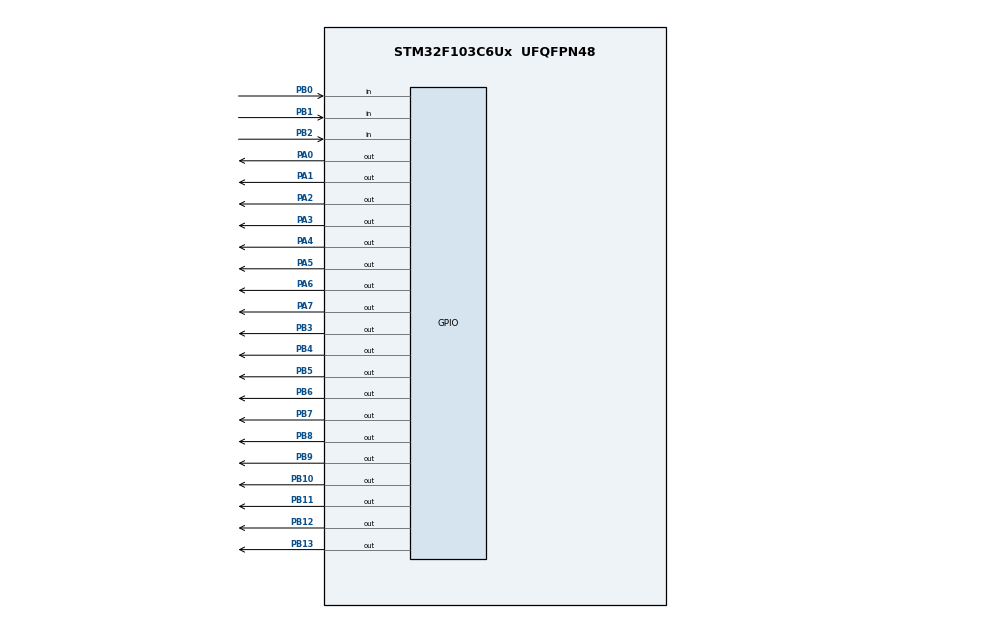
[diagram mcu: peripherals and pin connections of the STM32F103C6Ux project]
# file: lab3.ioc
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Mcu.Family=STM32F1
Mcu.Name=STM32F103C6Ux
Mcu.Package=UFQFPN48
NVIC.PriorityGroup=NVIC_PRIORITYGROUP_4
NVIC.TIM2_IRQn=true\:0\:0\:false\:false\:true\:true\:true
PA0-WKUP.Signal=GPIO_Output
PA1.Signal=GPIO_Output
PA2.Signal=GPIO_Output
PA3.Signal=GPIO_Output
PA4.Signal=GPIO_Output
PA5.Signal=GPIO_Output
PA6.Signal=GPIO_Output
PA7.Signal=GPIO_Output
PB0.GPIO_PuPd=GPIO_PULLUP
PB0.Signal=GPIO_Input
PB1.GPIO_PuPd=GPIO_PULLUP
PB1.Signal=GPIO_Input
PB10.Signal=GPIO_Output
PB11.Signal=GPIO_Output
PB12.Signal=GPIO_Output
PB13.Signal=GPIO_Output
PB2.GPIO_PuPd=GPIO_PULLUP
PB2.Signal=GPIO_Input
PB3.Signal=GPIO_Output
PB4.Signal=GPIO_Output
PB5.Signal=GPIO_Output
PB6.Signal=GPIO_Output
PB7.Signal=GPIO_Output
PB8.Signal=GPIO_Output
PB9.Signal=GPIO_Output
ProjectManager.HeapSize=0x200
ProjectManager.StackSize=0x400
ProjectManager.TargetToolchain=STM32CubeIDE
RCC.APB1Freq_Value=8000000
RCC.APB2Freq_Value=8000000
TIM2.Period=9
TIM2.Prescaler=7999
VP_SYS_VS_ND.Mode=No_Debug
VP_TIM2_VS_ClockSourceINT.Mode=Internal
board=custom

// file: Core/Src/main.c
/* USER CODE BEGIN Header */
/**
  ******************************************************************************
  * @file           : main.c
  * @brief          : Main program body
  ******************************************************************************
  * @attention
  *
  * <h2><center>&copy; Copyright (c) 2026 STMicroelectronics.
  * All rights reserved.</center></h2>
  *
  * This software component is licensed by ST under BSD 3-Clause license,
  * the "License"; You may not use this file except in compliance with the
  * License. You may obtain a copy of the License at:
  *                        opensource.org/licenses/BSD-3-Clause
  *
  ******************************************************************************
  */
/* USER CODE END Header */
#include "main.h"

/* USER CODE BEGIN Includes */
#include "input_processing.h"
#include "timer.h"
/* USER CODE END Includes */

/* USER CODE BEGIN PD */
#define SEG0_Pin GPIO_PIN_3
#define SEG1_Pin GPIO_PIN_4
#define SEG2_Pin GPIO_PIN_5
#define SEG3_Pin GPIO_PIN_6
#define SEG4_Pin GPIO_PIN_7
#define SEG5_Pin GPIO_PIN_8
#define SEG6_Pin GPIO_PIN_9

#define EN0_Pin GPIO_PIN_10
#define EN1_Pin GPIO_PIN_11
#define EN2_Pin GPIO_PIN_12
#define EN3_Pin GPIO_PIN_13
/* USER CODE END PD */

TIM_HandleTypeDef htim2;

/* USER CODE BEGIN PV */
int led_buffer[4] = {0, 0, 0, 0};
int index_led = 0;
const int MAX_LED = 4;
/* USER CODE END PV */

void SystemClock_Config(void);
static void MX_GPIO_Init(void);
static void MX_TIM2_Init(void);
/* USER CODE BEGIN PFP */
void update7SEG(int index);
/* USER CODE END PFP */

int main(void)
{

  /* MCU Configuration--------------------------------------------------------*/

  /* Reset of all peripherals, Initializes the Flash interface and the Systick. */
  HAL_Init();

  /* Configure the system clock */
  SystemClock_Config();

  /* Initialize all configured peripherals */
  MX_GPIO_Init();
  MX_TIM2_Init();
  /* USER CODE BEGIN 2 */
  HAL_TIM_Base_Start_IT(&htim2);
  setTimer2(250);
  HAL_GPIO_WritePin(GPIOA, GPIO_PIN_2|GPIO_PIN_3|GPIO_PIN_4|GPIO_PIN_5|GPIO_PIN_6|GPIO_PIN_7, GPIO_PIN_SET);
  HAL_GPIO_WritePin(GPIOB, EN0_Pin|EN1_Pin|EN2_Pin|EN3_Pin, GPIO_PIN_SET);
  /* USER CODE END 2 */

  /* Infinite loop */
  /* USER CODE BEGIN WHILE */
  while (1)
  {
	  fsm_for_input_processing();
	  fsm_system();
	  if(timer2_flag==1){
		  setTimer2(250);
		  update7SEG(index_led++);
		  if(index_led >= MAX_LED)
			  index_led=0;
	  }
    /* USER CODE END WHILE */

  }
}

void SystemClock_Config(void)
{
  RCC_OscInitTypeDef RCC_OscInitStruct = {0};
  RCC_ClkInitTypeDef RCC_ClkInitStruct = {0};

  /** Initializes the RCC Oscillators according to the specified parameters
  * in the RCC_OscInitTypeDef structure.
  */
  RCC_OscInitStruct.OscillatorType = RCC_OSCILLATORTYPE_HSI;
  RCC_OscInitStruct.HSIState = RCC_HSI_ON;
  RCC_OscInitStruct.HSICalibrationValue = RCC_HSICALIBRATION_DEFAULT;
  RCC_OscInitStruct.PLL.PLLState = RCC_PLL_NONE;
  if (HAL_RCC_OscConfig(&RCC_OscInitStruct) != HAL_OK)
  {
    Error_Handler();
  }
  /** Initializes the CPU, AHB and APB buses clocks
  */
  RCC_ClkInitStruct.ClockType = RCC_CLOCKTYPE_HCLK|RCC_CLOCKTYPE_SYSCLK
                              |RCC_CLOCKTYPE_PCLK1|RCC_CLOCKTYPE_PCLK2;
  RCC_ClkInitStruct.SYSCLKSource = RCC_SYSCLKSOURCE_HSI;
  RCC_ClkInitStruct.AHBCLKDivider = RCC_SYSCLK_DIV1;
  RCC_ClkInitStruct.APB1CLKDivider = RCC_HCLK_DIV1;
  RCC_ClkInitStruct.APB2CLKDivider = RCC_HCLK_DIV1;

  if (HAL_RCC_ClockConfig(&RCC_ClkInitStruct, FLASH_LATENCY_0) != HAL_OK)
  {
    Error_Handler();
  }
}

static void MX_TIM2_Init(void)
{

  TIM_ClockConfigTypeDef sClockSourceConfig = {0};
  TIM_MasterConfigTypeDef sMasterConfig = {0};

  htim2.Instance = TIM2;
  htim2.Init.Prescaler = 7999;
  htim2.Init.CounterMode = TIM_COUNTERMODE_UP;
  htim2.Init.Period = 9;
  htim2.Init.ClockDivision = TIM_CLOCKDIVISION_DIV1;
  htim2.Init.AutoReloadPreload = TIM_AUTORELOAD_PRELOAD_DISABLE;
  if (HAL_TIM_Base_Init(&htim2) != HAL_OK)
  {
    Error_Handler();
  }
  sClockSourceConfig.ClockSource = TIM_CLOCKSOURCE_INTERNAL;
  if (HAL_TIM_ConfigClockSource(&htim2, &sClockSourceConfig) != HAL_OK)
  {
    Error_Handler();
  }
  sMasterConfig.MasterOutputTrigger = TIM_TRGO_RESET;
  sMasterConfig.MasterSlaveMode = TIM_MASTERSLAVEMODE_DISABLE;
  if (HAL_TIMEx_MasterConfigSynchronization(&htim2, &sMasterConfig) != HAL_OK)
  {
    Error_Handler();
  }

}

static void MX_GPIO_Init(void)
{
  GPIO_InitTypeDef GPIO_InitStruct = {0};

  /* GPIO Ports Clock Enable */
  __HAL_RCC_GPIOA_CLK_ENABLE();
  __HAL_RCC_GPIOB_CLK_ENABLE();

  /*Configure GPIO pin Output Level */
  HAL_GPIO_WritePin(GPIOA, GPIO_PIN_0|GPIO_PIN_1|GPIO_PIN_2|GPIO_PIN_3
                          |GPIO_PIN_4|GPIO_PIN_5|GPIO_PIN_6|GPIO_PIN_7, GPIO_PIN_RESET);

  /*Configure GPIO pin Output Level */
  HAL_GPIO_WritePin(GPIOB, GPIO_PIN_10|GPIO_PIN_11|GPIO_PIN_12|GPIO_PIN_13
                          |GPIO_PIN_3|GPIO_PIN_4|GPIO_PIN_5|GPIO_PIN_6
                          |GPIO_PIN_7|GPIO_PIN_8|GPIO_PIN_9, GPIO_PIN_RESET);

  /*Configure GPIO pins : PA0 PA1 PA2 PA3
                           PA4 PA5 PA6 PA7 */
  GPIO_InitStruct.Pin = GPIO_PIN_0|GPIO_PIN_1|GPIO_PIN_2|GPIO_PIN_3
                          |GPIO_PIN_4|GPIO_PIN_5|GPIO_PIN_6|GPIO_PIN_7;
  GPIO_InitStruct.Mode = GPIO_MODE_OUTPUT_PP;
  GPIO_InitStruct.Pull = GPIO_NOPULL;
  GPIO_InitStruct.Speed = GPIO_SPEED_FREQ_LOW;
  HAL_GPIO_Init(GPIOA, &GPIO_InitStruct);

  /*Configure GPIO pins : PB0 PB1 PB2 */
  GPIO_InitStruct.Pin = GPIO_PIN_0|GPIO_PIN_1|GPIO_PIN_2;
  GPIO_InitStruct.Mode = GPIO_MODE_INPUT;
  GPIO_InitStruct.Pull = GPIO_PULLUP;
  HAL_GPIO_Init(GPIOB, &GPIO_InitStruct);

  /*Configure GPIO pins : PB10 PB11 PB12 PB13
                           PB3 PB4 PB5 PB6
                           PB7 PB8 PB9 */
  GPIO_InitStruct.Pin = GPIO_PIN_10|GPIO_PIN_11|GPIO_PIN_12|GPIO_PIN_13
                          |GPIO_PIN_3|GPIO_PIN_4|GPIO_PIN_5|GPIO_PIN_6
                          |GPIO_PIN_7|GPIO_PIN_8|GPIO_PIN_9;
  GPIO_InitStruct.Mode = GPIO_MODE_OUTPUT_PP;
  GPIO_InitStruct.Pull = GPIO_NOPULL;
  GPIO_InitStruct.Speed = GPIO_SPEED_FREQ_LOW;
  HAL_GPIO_Init(GPIOB, &GPIO_InitStruct);

}

/* USER CODE BEGIN 4 */
void display7SEG(int num){
	if(num<0||num>9) return;
	switch(num){
	case 0:
		HAL_GPIO_WritePin(GPIOB, SEG0_Pin, GPIO_PIN_RESET);
		HAL_GPIO_WritePin(GPIOB, SEG1_Pin, GPIO_PIN_RESET);
		HAL_GPIO_WritePin(GPIOB, SEG2_Pin, GPIO_PIN_RESET);
		HAL_GPIO_WritePin(GPIOB, SEG3_Pin, GPIO_PIN_RESET);
		HAL_GPIO_WritePin(GPIOB, SEG4_Pin, GPIO_PIN_RESET);
		HAL_GPIO_WritePin(GPIOB, SEG5_Pin, GPIO_PIN_RESET);
		HAL_GPIO_WritePin(GPIOB, SEG6_Pin, GPIO_PIN_SET);
		break;
	case 1:
		HAL_GPIO_WritePin(GPIOB, SEG0_Pin, GPIO_PIN_SET);
		HAL_GPIO_WritePin(GPIOB, SEG1_Pin, GPIO_PIN_RESET);
		HAL_GPIO_WritePin(GPIOB, SEG2_Pin, GPIO_PIN_RESET);
		HAL_GPIO_WritePin(GPIOB, SEG3_Pin, GPIO_PIN_SET);
		HAL_GPIO_WritePin(GPIOB, SEG4_Pin, GPIO_PIN_SET);
		HAL_GPIO_WritePin(GPIOB, SEG5_Pin, GPIO_PIN_SET);
		HAL_GPIO_WritePin(GPIOB, SEG6_Pin, GPIO_PIN_SET);
		break;
	case 2:
		HAL_GPIO_WritePin(GPIOB, SEG0_Pin, GPIO_PIN_RESET);
		HAL_GPIO_WritePin(GPIOB, SEG1_Pin, GPIO_PIN_RESET);
		HAL_GPIO_WritePin(GPIOB, SEG2_Pin, GPIO_PIN_SET);
		HAL_GPIO_WritePin(GPIOB, SEG3_Pin, GPIO_PIN_RESET);
		HAL_GPIO_WritePin(GPIOB, SEG4_Pin, GPIO_PIN_RESET);
		HAL_GPIO_WritePin(GPIOB, SEG5_Pin, GPIO_PIN_SET);
		HAL_GPIO_WritePin(GPIOB, SEG6_Pin, GPIO_PIN_RESET);
		break;
	case 3:
		HAL_GPIO_WritePin(GPIOB, SEG0_Pin, GPIO_PIN_RESET);
		HAL_GPIO_WritePin(GPIOB, SEG1_Pin, GPIO_PIN_RESET);
		HAL_GPIO_WritePin(GPIOB, SEG2_Pin, GPIO_PIN_RESET);
		HAL_GPIO_WritePin(GPIOB, SEG3_Pin, GPIO_PIN_RESET);
		HAL_GPIO_WritePin(GPIOB, SEG4_Pin, GPIO_PIN_SET);
		HAL_GPIO_WritePin(GPIOB, SEG5_Pin, GPIO_PIN_SET);
		HAL_GPIO_WritePin(GPIOB, SEG6_Pin, GPIO_PIN_RESET);
		break;
	case 4:
		HAL_GPIO_WritePin(GPIOB, SEG0_Pin, GPIO_PIN_SET);
		HAL_GPIO_WritePin(GPIOB, SEG1_Pin, GPIO_PIN_RESET);
		HAL_GPIO_WritePin(GPIOB, SEG2_Pin, GPIO_PIN_RESET);
		HAL_GPIO_WritePin(GPIOB, SEG3_Pin, GPIO_PIN_SET);
		HAL_GPIO_WritePin(GPIOB, SEG4_Pin, GPIO_PIN_SET);
		HAL_GPIO_WritePin(GPIOB, SEG5_Pin, GPIO_PIN_RESET);
		HAL_GPIO_WritePin(GPIOB, SEG6_Pin, GPIO_PIN_RESET);
		break;
	case 5:
		HAL_GPIO_WritePin(GPIOB, SEG0_Pin, GPIO_PIN_RESET);
		HAL_GPIO_WritePin(GPIOB, SEG1_Pin, GPIO_PIN_SET);
		HAL_GPIO_WritePin(GPIOB, SEG2_Pin, GPIO_PIN_RESET);
		HAL_GPIO_WritePin(GPIOB, SEG3_Pin, GPIO_PIN_RESET);
		HAL_GPIO_WritePin(GPIOB, SEG4_Pin, GPIO_PIN_SET);
		HAL_GPIO_WritePin(GPIOB, SEG5_Pin, GPIO_PIN_RESET);
		HAL_GPIO_WritePin(GPIOB, SEG6_Pin, GPIO_PIN_RESET);
		break;
	case 6:
		HAL_GPIO_WritePin(GPIOB, SEG0_Pin, GPIO_PIN_RESET);
		HAL_GPIO_WritePin(GPIOB, SEG1_Pin, GPIO_PIN_SET);
		HAL_GPIO_WritePin(GPIOB, SEG2_Pin, GPIO_PIN_RESET);
		HAL_GPIO_WritePin(GPIOB, SEG3_Pin, GPIO_PIN_RESET);
		HAL_GPIO_WritePin(GPIOB, SEG4_Pin, GPIO_PIN_RESET);
		HAL_GPIO_WritePin(GPIOB, SEG5_Pin, GPIO_PIN_RESET);
		HAL_GPIO_WritePin(GPIOB, SEG6_Pin, GPIO_PIN_RESET);
		break;
	case 7:
		HAL_GPIO_WritePin(GPIOB, SEG0_Pin, GPIO_PIN_RESET);
		HAL_GPIO_WritePin(GPIOB, SEG1_Pin, GPIO_PIN_RESET);
		HAL_GPIO_WritePin(GPIOB, SEG2_Pin, GPIO_PIN_RESET);
		HAL_GPIO_WritePin(GPIOB, SEG3_Pin, GPIO_PIN_SET);
		HAL_GPIO_WritePin(GPIOB, SEG4_Pin, GPIO_PIN_SET);
		HAL_GPIO_WritePin(GPIOB, SEG5_Pin, GPIO_PIN_SET);
		HAL_GPIO_WritePin(GPIOB, SEG6_Pin, GPIO_PIN_SET);
		break;
	case 8:
		HAL_GPIO_WritePin(GPIOB, SEG0_Pin, GPIO_PIN_RESET);
		HAL_GPIO_WritePin(GPIOB, SEG1_Pin, GPIO_PIN_RESET);
		HAL_GPIO_WritePin(GPIOB, SEG2_Pin, GPIO_PIN_RESET);
		HAL_GPIO_WritePin(GPIOB, SEG3_Pin, GPIO_PIN_RESET);
		HAL_GPIO_WritePin(GPIOB, SEG4_Pin, GPIO_PIN_RESET);
		HAL_GPIO_WritePin(GPIOB, SEG5_Pin, GPIO_PIN_RESET);
		HAL_GPIO_WritePin(GPIOB, SEG6_Pin, GPIO_PIN_RESET);
		break;
	case 9:
		HAL_GPIO_WritePin(GPIOB, SEG0_Pin, GPIO_PIN_RESET);
		HAL_GPIO_WritePin(GPIOB, SEG1_Pin, GPIO_PIN_RESET);
		HAL_GPIO_WritePin(GPIOB, SEG2_Pin, GPIO_PIN_RESET);
		HAL_GPIO_WritePin(GPIOB, SEG3_Pin, GPIO_PIN_RESET);
		HAL_GPIO_WritePin(GPIOB, SEG4_Pin, GPIO_PIN_SET);
		HAL_GPIO_WritePin(GPIOB, SEG5_Pin, GPIO_PIN_RESET);
		HAL_GPIO_WritePin(GPIOB, SEG6_Pin, GPIO_PIN_RESET);
		break;
	}
}

void update7SEG(int index) {
    HAL_GPIO_WritePin(GPIOB, EN0_Pin | EN1_Pin | EN2_Pin | EN3_Pin, GPIO_PIN_SET);

    switch (index) {
        case 0:
            display7SEG(led_buffer[0]);
            HAL_GPIO_WritePin(GPIOB, EN0_Pin, GPIO_PIN_RESET);
            break;
        case 1:
            display7SEG(led_buffer[1]);
            HAL_GPIO_WritePin(GPIOB, EN1_Pin, GPIO_PIN_RESET);
            break;
        case 2:
            display7SEG(led_buffer[2]);
            HAL_GPIO_WritePin(GPIOB, EN2_Pin, GPIO_PIN_RESET);
            break;
        case 3:
            display7SEG(led_buffer[3]);
            HAL_GPIO_WritePin(GPIOB, EN3_Pin, GPIO_PIN_RESET);
            break;
        default:
            break;
    }
}

/* USER CODE END 4 */

void Error_Handler(void)
{
  __disable_irq();
  while (1)
  {
  }
}

/************************ (C) COPYRIGHT STMicroelectronics *****END OF FILE****/
